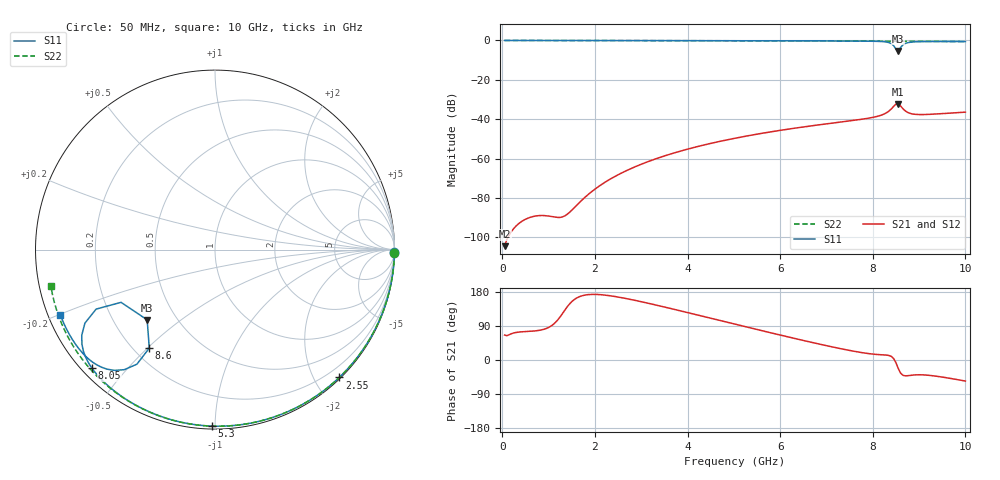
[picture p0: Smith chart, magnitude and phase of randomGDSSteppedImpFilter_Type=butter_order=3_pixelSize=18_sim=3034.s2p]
! freq	dB(S11)	phase(S11)	dB(S12)	phase(S12)
!  dB(S21)	phase(S21)	dB(S22)	phase(S22)
!S-par simulation data
#  GHz  S  DB  R 50
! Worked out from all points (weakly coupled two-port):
!   200 points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, 50 MHz to 10 GHz, reference 50 ohm
!   highest |S21| = -32.22 dB at 8.55 GHz (marker M1); lowest = -104.5 dB at 50 MHz (marker M2)
!   lowest |S11| = -5.3 dB at 8.55 GHz (marker M3), VSWR 3.39, Z = 17.2 - j19.1 ohm
!   |S11| at or under -10 dB: nowhere
!   |S22| runs from -0.6 to 0.0 dB; largest |S21 - S12| = 0
!   S11 on the Smith chart (normalised r, x): 50 MHz: open; 2.55 GHz: 0.02, -2.37; 5.3 GHz: 0.02, -0.98; 8.05 GHz: 0.03, -0.40; 8.6 GHz: 0.26, -0.51; 10 GHz: 0.03, -0.20
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0.05  -0.00 -0.9  -104.54 65.7  -104.54 65.7  -0.00 -1.0
0.85  -0.02 -15.6  -88.95 79.5  -88.95 79.5  -0.02 -16.1
1.75  -0.04 -31.8  -80.46 170.4  -80.46 170.4  -0.04 -32.8
2.15  -0.05 -38.8  -73.09 172.1  -73.09 172.1  -0.05 -40.1
2.55  -0.06 -45.8  -67.66 165.1  -67.66 165.1  -0.06 -47.3
3.4  -0.08 -60.3  -59.46 142.7  -59.46 142.7  -0.08 -62.2
4.15  -0.10 -72.7  -54.30 120.7  -54.30 120.7  -0.11 -75.0
5.05  -0.13 -87.0  -49.57 93.8  -49.57 93.8  -0.14 -89.8
5.3  -0.14 -90.9  -48.46 86.4  -48.46 86.4  -0.15 -93.8
6.7  -0.22 -112.5  -43.31 46.0  -43.31 46.0  -0.23 -115.8
7.5  -0.29 -125.3  -40.87 25.2  -40.87 25.2  -0.29 -128.1
8.05  -0.43 -136.0  -38.84 15.0  -38.84 15.0  -0.34 -136.5
8.35  -1.09 -147.3  -35.87 11.9  -35.87 11.9  -0.37 -141.1
8.45  -2.61 -153.4  -33.51 4.0  -33.51 4.0  -0.38 -142.7
8.5  -4.43 -150.7  -32.37 -7.0  -32.37 -7.0  -0.38 -143.5
8.55  -5.29 -134.0  -32.22 -22.2  -32.22 -22.2  -0.38 -144.2
8.6  -3.61 -123.7  -33.27 -34.5  -33.27 -34.5  -0.39 -145.0
8.65  -2.24 -124.3  -34.65 -40.3  -34.65 -40.3  -0.39 -145.8
8.7  -1.53 -127.1  -35.76 -41.8  -35.76 -41.8  -0.40 -146.6
8.95  -0.67 -137.2  -37.60 -39.1  -37.60 -39.1  -0.43 -150.5
9.35  -0.55 -145.9  -37.39 -42.4  -37.39 -42.4  -0.48 -156.9
10  -0.58 -157.0  -36.43 -55.6  -36.43 -55.6  -0.57 -167.5
